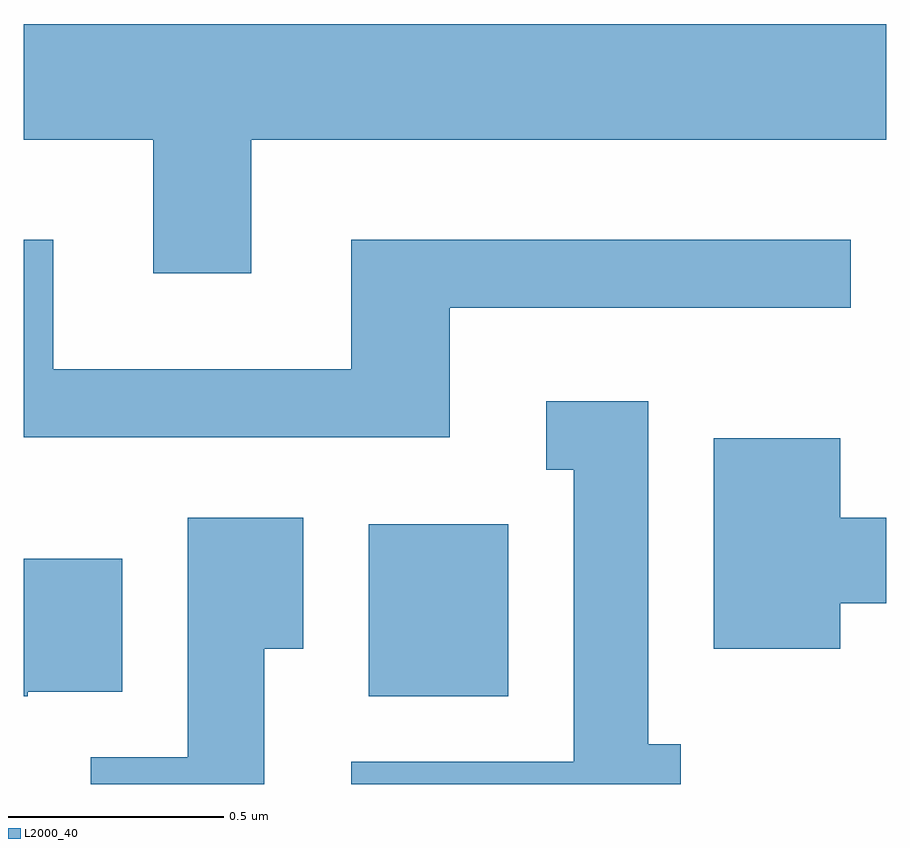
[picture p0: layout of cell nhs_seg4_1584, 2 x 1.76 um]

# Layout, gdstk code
import gdstk
lib = gdstk.Library(unit=1e-6, precision=1e-09)
def R(c, l, rs):  # rectangles x0, y0, x1, y1
    for r in rs: c.add(gdstk.rectangle(r[:2], r[2:], *l))
def P(c, l, *ps):  # polygons
    for p in ps: c.add(gdstk.Polygon(p, *l))
L2000_40 = (2000, 40)

nhs_seg4_1584 = lib.new_cell('nhs_seg4_1584')
R(nhs_seg4_1584, L2000_40, [(197.411,1331.186,197.734,1331.584)])
P(nhs_seg4_1584, L2000_40, [(197.139,1332.476),(198.611,1332.476),(198.611,1332.744),(196.611,1332.744),(196.611,1332.476),(196.911,1332.476),(196.911,1332.166),(197.139,1332.166)],
  [(197.599,1332.086),(198.528,1332.086),(198.528,1332.244),(197.371,1332.244),(197.371,1331.944),(196.679,1331.944),(196.679,1332.244),(196.611,1332.244),(196.611,1331.786),(197.599,1331.786)],
  [(198.134,1331.074),(198.059,1331.074),(198.059,1331.869),(197.823,1331.869),(197.823,1331.711),(197.886,1331.711),(197.886,1331.034),(197.371,1331.034),(197.371,1330.982),(198.134,1330.982)],
  [(198.504,1331.401),(198.611,1331.401),(198.611,1331.599),(198.504,1331.599),(198.504,1331.784),(198.211,1331.784),(198.211,1331.296),(198.504,1331.296)],
  [(197.169,1331.296),(197.259,1331.296),(197.259,1331.599),(196.991,1331.599),(196.991,1331.044),(196.766,1331.044),(196.766,1330.982),(197.169,1330.982)],
  [(196.62,1331.196),(196.839,1331.196),(196.839,1331.504),(196.611,1331.504),(196.611,1331.186),(196.62,1331.186)])

lib.write_gds('nhs_seg4_1584.gds')
